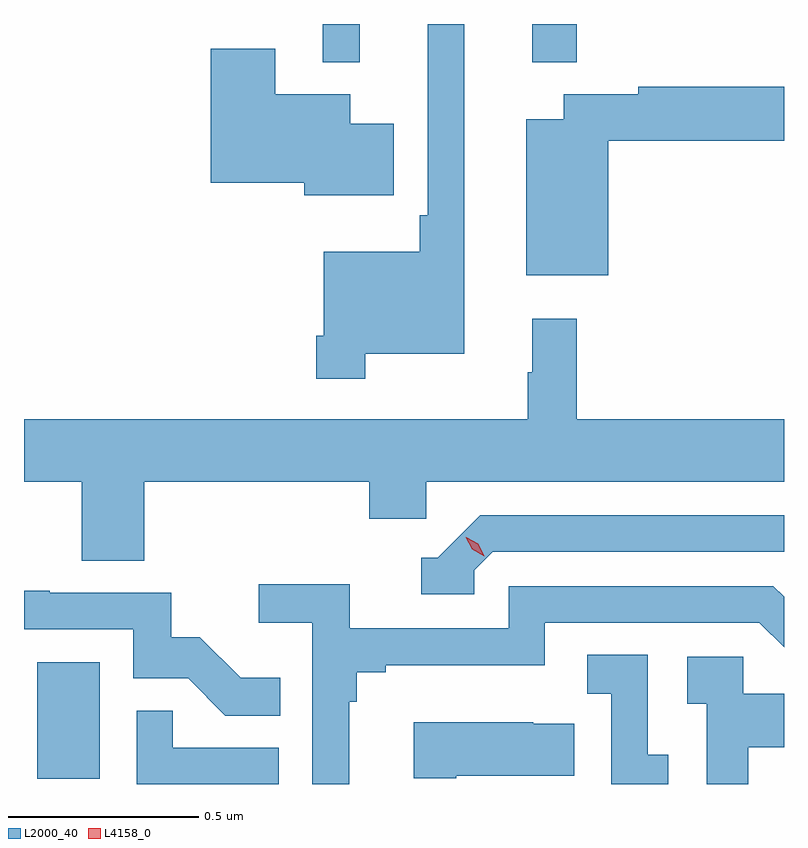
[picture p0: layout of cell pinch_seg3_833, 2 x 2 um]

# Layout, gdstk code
import gdstk
lib = gdstk.Library(unit=1e-6, precision=1e-09)
def R(c, l, rs):  # rectangles x0, y0, x1, y1
    for r in rs: c.add(gdstk.rectangle(r[:2], r[2:], *l))
def P(c, l, *ps):  # polygons
    for p in ps: c.add(gdstk.Polygon(p, *l))
L2000_40 = (2000, 40)
L4158_0 = (4158, 0)

pinch_seg3_833 = lib.new_cell('pinch_seg3_833')
R(pinch_seg3_833, L2000_40, [(849.302,721.446,849.466,721.753), (850.053,723.332,850.151,723.432), (850.604,723.332,850.721,723.432)])
P(pinch_seg3_833, L2000_40, [(850.165,722.564),(850.426,722.564),(850.426,723.432),(850.329,723.432),(850.329,722.929),(850.309,722.929),(850.309,722.833),(850.056,722.833),(850.056,722.611),(850.036,722.611),(850.036,722.499),(850.165,722.499)],
  [(850.24,723.169),(850.126,723.169),(850.126,723.247),(849.928,723.247),(849.928,723.367),(849.758,723.367),(849.758,723.014),(850.004,723.014),(850.004,722.981),(850.24,722.981)],
  [(850.804,723.125),(851.267,723.125),(851.267,723.267),(850.884,723.267),(850.884,723.247),(850.688,723.247),(850.688,723.181),(850.589,723.181),(850.589,722.771),(850.804,722.771)],
  [(849.584,722.228),(850.175,722.228),(850.175,722.13),(850.326,722.13),(850.326,722.228),(851.267,722.228),(851.267,722.392),(850.721,722.392),(850.721,722.656),(850.604,722.656),(850.604,722.516),(850.593,722.516),(850.593,722.392),(849.267,722.392),(849.267,722.228),(849.419,722.228),(849.419,722.02),(849.584,722.02)],
  [(850.452,721.995),(850.5,722.043),(851.267,722.043),(851.267,722.139),(850.467,722.139),(850.356,722.028),(850.313,722.028),(850.313,721.932),(850.452,721.932)],
  [(850.123,721.649),(850.142,721.649),(850.142,721.726),(850.219,721.726),(850.219,721.745),(850.638,721.745),(850.638,721.857),(851.202,721.857),(851.267,721.792),(851.267,721.925),(851.239,721.953),(850.542,721.953),(850.542,721.842),(850.124,721.842),(850.124,721.958),(849.885,721.958),(849.885,721.856),(850.026,721.856),(850.026,721.432),(850.123,721.432)],
  [(849.941,721.711),(849.837,721.711),(849.73,721.818),(849.654,721.818),(849.654,721.935),(849.335,721.935),(849.335,721.94),(849.267,721.94),(849.267,721.839),(849.555,721.839),(849.555,721.71),(849.699,721.71),(849.797,721.612),(849.941,721.612)],
  [(850.963,721.509),(850.908,721.509),(850.908,721.772),(850.749,721.772),(850.749,721.669),(850.812,721.669),(850.812,721.432),(850.963,721.432)],
  [(851.173,721.529),(851.267,721.529),(851.267,721.669),(851.16,721.669),(851.16,721.767),(851.013,721.767),(851.013,721.643),(851.064,721.643),(851.064,721.432),(851.173,721.432)],
  [(849.937,721.527),(849.659,721.527),(849.659,721.625),(849.564,721.625),(849.564,721.432),(849.937,721.432)],
  [(850.405,721.454),(850.715,721.454),(850.715,721.591),(850.607,721.591),(850.607,721.594),(850.293,721.594),(850.293,721.447),(850.405,721.447)])
P(pinch_seg3_833, L4158_0, [(850.478,722.031),(850.447,722.05),(850.43,722.082),(850.43,722.082),(850.431,722.082),(850.462,722.064),(850.478,722.031),(850.478,722.031)])

lib.write_gds('pinch_seg3_833.gds')
